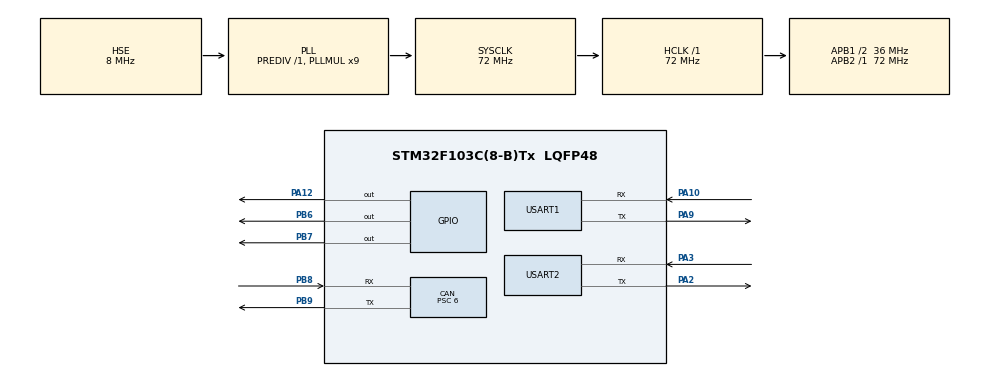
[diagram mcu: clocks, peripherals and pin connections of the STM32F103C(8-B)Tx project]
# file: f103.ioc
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CAN.BS1=CAN_BS1_9TQ
CAN.BS2=CAN_BS2_2TQ
CAN.CalculateBaudRate=499999
CAN.CalculateTimeBit=2000
CAN.CalculateTimeQuantum=166.66666666666669
CAN.Prescaler=6
Dma.Request0=USART1_RX
Dma.USART1_RX.0.Direction=DMA_PERIPH_TO_MEMORY
Dma.USART1_RX.0.Instance=DMA1_Channel5
Dma.USART1_RX.0.MemDataAlignment=DMA_MDATAALIGN_BYTE
Dma.USART1_RX.0.MemInc=DMA_MINC_ENABLE
Dma.USART1_RX.0.Mode=DMA_NORMAL
Dma.USART1_RX.0.PeriphDataAlignment=DMA_PDATAALIGN_BYTE
Dma.USART1_RX.0.PeriphInc=DMA_PINC_DISABLE
Dma.USART1_RX.0.Priority=DMA_PRIORITY_LOW
Mcu.Family=STM32F1
Mcu.Name=STM32F103C(8-B)Tx
Mcu.Package=LQFP48
NVIC.DMA1_Channel5_IRQn=true\:0\:0\:false\:false\:true\:false\:true\:true
NVIC.PriorityGroup=NVIC_PRIORITYGROUP_4
NVIC.USART1_IRQn=true\:0\:0\:false\:false\:true\:true\:true\:true
NVIC.USART2_IRQn=true\:0\:0\:false\:false\:true\:true\:true\:true
NVIC.USB_LP_CAN1_RX0_IRQn=true\:0\:0\:false\:false\:true\:true\:true\:true
PA10.Mode=Asynchronous
PA10.Signal=USART1_RX
PA12.Signal=GPIO_Output
PA13.Mode=Serial_Wire
PA13.Signal=SYS_JTMS-SWDIO
PA14.Mode=Serial_Wire
PA14.Signal=SYS_JTCK-SWCLK
PA2.Mode=Asynchronous
PA2.Signal=USART2_TX
PA3.Mode=Asynchronous
PA3.Signal=USART2_RX
PA9.Mode=Asynchronous
PA9.Signal=USART1_TX
PB6.GPIO_ModeDefaultOutputPP=GPIO_MODE_OUTPUT_OD
PB6.GPIO_PuPd=GPIO_NOPULL
PB6.GPIO_Speed=GPIO_SPEED_FREQ_HIGH
PB6.PinState=GPIO_PIN_SET
PB6.Signal=GPIO_Output
PB7.GPIO_ModeDefaultOutputPP=GPIO_MODE_OUTPUT_OD
PB7.GPIO_PuPd=GPIO_NOPULL
PB7.GPIO_Speed=GPIO_SPEED_FREQ_HIGH
PB7.PinState=GPIO_PIN_SET
PB7.Signal=GPIO_Output
PB8.Mode=CAN_Activate
PB8.Signal=CAN_RX
PB9.Mode=CAN_Activate
PB9.Signal=CAN_TX
PD0-OSC_IN.Mode=HSE-External-Oscillator
PD0-OSC_IN.Signal=RCC_OSC_IN
PD1-OSC_OUT.Mode=HSE-External-Oscillator
PD1-OSC_OUT.Signal=RCC_OSC_OUT
ProjectManager.HeapSize=0x200
ProjectManager.StackSize=0x400
ProjectManager.TargetToolchain=CMake
RCC.AHBFreq_Value=72000000
RCC.APB1CLKDivider=RCC_HCLK_DIV2
RCC.APB1Freq_Value=36000000
RCC.APB1TimFreq_Value=72000000
RCC.APB2Freq_Value=72000000
RCC.APB2TimFreq_Value=72000000
RCC.HCLKFreq_Value=72000000
RCC.PLLMUL=RCC_PLL_MUL9
RCC.PLLSourceVirtual=RCC_PLLSOURCE_HSE
RCC.SYSCLKFreq_VALUE=72000000
RCC.SYSCLKSource=RCC_SYSCLKSOURCE_PLLCLK
RCC.USBFreq_Value=72000000
USART1.VirtualMode=VM_ASYNC
USART2.VirtualMode=VM_ASYNC
board=custom

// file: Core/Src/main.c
/* USER CODE BEGIN Header */
/**
  ******************************************************************************
  * @file           : main.c
  * @brief          : Main program body
  ******************************************************************************
  * @attention
  *
  * Copyright (c) 2026 STMicroelectronics.
  * All rights reserved.
  *
  * This software is licensed under terms that can be found in the LICENSE file
  * in the root directory of this software component.
  * If no LICENSE file comes with this software, it is provided AS-IS.
  *
  ******************************************************************************
  */
/* USER CODE END Header */
#include "main.h"
#include "can.h"
#include "dma.h"
#include "usart.h"
#include "gpio.h"

/* USER CODE BEGIN Includes */
#include "OLED.h"
#include "Emm_V5.h"
#include "gimbal.h"
#include <stdio.h>
#include "imu.h"
#include "perf_monitor.h"
/* USER CODE END Includes */

/* USER CODE BEGIN PM */
Perf_FPS_t vision_fps = {0};
Perf_FPS_t gyro_fps = {0};
/* USER CODE END PM */

/* USER CODE BEGIN PV */
uint8_t rx_buffer[64];        // DMA 接收缓冲区，足够装下整句话
uint32_t last_track_time = 0; // 用于裸机非阻塞定时的系统滴答时间

uint32_t debug_rx_count = 0;  // 记录到底触发了多少次串口中断
char debug_last_char = ' ';   // 记录最后一个收到的字符
char oled_buf[32];            // OLED 字符串格式化缓冲
uint32_t debug_frame_count = 0;
uint32_t count = 0;
uint32_t debug_can_rx_count = 0;  // 记录 CAN 总共收到了多少帧数据
uint32_t debug_can_last_id = 0;   // 记录最新收到的一帧数据的 ID
uint8_t imu_rx_byte;

uint16_t count1 = 0;
uint16_t count2 = 0;
volatile uint16_t count3 = 0;

float pid_cost_time = 0.0f; // 记录 PID 耗时
extern volatile int16_t gyro_angle_raw;
extern volatile uint8_t gyro_rx_done;
/* USER CODE END PV */

void SystemClock_Config(void);

int main(void)
{

  /* MCU Configuration--------------------------------------------------------*/

  /* Reset of all peripherals, Initializes the Flash interface and the Systick. */
  HAL_Init();

  /* Configure the system clock */
  SystemClock_Config();

  /* Initialize all configured peripherals */
  MX_GPIO_Init();
  MX_DMA_Init();
  MX_CAN_Init();
  MX_USART1_UART_Init();
  MX_USART2_UART_Init();
  /* USER CODE BEGIN 2 */
  OLED_Init();
  Perf_Init();

  USER_CAN1_Filter_Init();

  if(HAL_CAN_Start(&hcan) != HAL_OK) { Error_Handler(); }
  if(HAL_CAN_ActivateNotification(&hcan, CAN_IT_RX_FIFO0_MSG_PENDING) != HAL_OK) { Error_Handler(); }
  HAL_Delay(500);
 // Emm_V5_Pos_Control(1, 0, 1000, 0, 256000, 0, 1);
  /* USER CODE END 2 */

  /* Infinite loop */
  /* USER CODE BEGIN WHILE */

  K230_Parser_Init();
  HAL_UARTEx_ReceiveToIdle_DMA(&huart1, rx_buffer, sizeof(rx_buffer));
  HAL_UART_Receive_IT(&huart2, &imu_rx_byte, 1);

  // 初始化云台 PID 参数
  Gimbal_Init();
  Gyro_ConfigReportRateRx();
  // 上电后等待稳定，使能锁死电机
  HAL_Delay(100);
  //Gimbal_Enable(true);
  OLED_ShowString(0, 0, "Inited", OLED_8X16);
  OLED_Update();
  while (1)
  {
    /* USER CODE END WHILE */

    /* USER CODE BEGIN 3 */
    if (gyro_rx_done == 1)
    {
      Perf_Start_Measure(); // ⏱️ DWT 掐表开始
      // 执行内环控速下发
      Gimbal_InnerLoop_Gyro_200Hz();
      pid_cost_time = Perf_End_Measure_us(); // ⏱️ DWT 掐表结束，拿到微秒级耗时
      Perf_FPS_Tick(&gyro_fps); // 📈 陀螺仪频率“打卡”
      gyro_rx_done = 0; // 清除标志，等待下一帧
    }
    Perf_FPS_Calc_1Hz(&vision_fps);
    if (Perf_FPS_Calc_1Hz(&gyro_fps) == true)
    {
      OLED_Clear();
      // 打印 K230 视觉追踪的真实 Hz
      OLED_Printf(0, 0, OLED_8X16, "V_Hz:%d", vision_fps.fps_result);

      // 打印陀螺仪控制内环的真实 Hz (看看有没有跑满 500Hz)
      OLED_Printf(0, 16, OLED_8X16, "G_Hz:%d", gyro_fps.fps_result);

      // 打印一次 PID 闭环算法 + CAN 发送消耗的时间 (us)
      OLED_Printf(0, 32, OLED_8X16, "Cost:%.1fus", pid_cost_time);

      // 打印你的调试变量
      OLED_Printf(0, 48, OLED_6X8, "C1:%d C2:%d C3:%d", count1, count2, count3);

      OLED_Update(); // 每秒仅仅耗时 30ms 刷一次屏
    }
    if (HAL_GetTick() - last_track_time >= 33)  //33Hz
    {
      last_track_time = HAL_GetTick();

      count1++;
      // 只有当状态机完整拼接出一帧校验通过的数据时，才去控制电机
      if (K230_Target.is_updated == true)
      {
        // 第一时间清除标志位，等待下一帧
        K230_Target.is_updated = false;
      }
    }
  }
  /* USER CODE END 3 */
}

void SystemClock_Config(void)
{
  RCC_OscInitTypeDef RCC_OscInitStruct = {0};
  RCC_ClkInitTypeDef RCC_ClkInitStruct = {0};

  /** Initializes the RCC Oscillators according to the specified parameters
  * in the RCC_OscInitTypeDef structure.
  */
  RCC_OscInitStruct.OscillatorType = RCC_OSCILLATORTYPE_HSE;
  RCC_OscInitStruct.HSEState = RCC_HSE_ON;
  RCC_OscInitStruct.HSEPredivValue = RCC_HSE_PREDIV_DIV1;
  RCC_OscInitStruct.HSIState = RCC_HSI_ON;
  RCC_OscInitStruct.PLL.PLLState = RCC_PLL_ON;
  RCC_OscInitStruct.PLL.PLLSource = RCC_PLLSOURCE_HSE;
  RCC_OscInitStruct.PLL.PLLMUL = RCC_PLL_MUL9;
  if (HAL_RCC_OscConfig(&RCC_OscInitStruct) != HAL_OK)
  {
    Error_Handler();
  }

  /** Initializes the CPU, AHB and APB buses clocks
  */
  RCC_ClkInitStruct.ClockType = RCC_CLOCKTYPE_HCLK|RCC_CLOCKTYPE_SYSCLK
                              |RCC_CLOCKTYPE_PCLK1|RCC_CLOCKTYPE_PCLK2;
  RCC_ClkInitStruct.SYSCLKSource = RCC_SYSCLKSOURCE_PLLCLK;
  RCC_ClkInitStruct.AHBCLKDivider = RCC_SYSCLK_DIV1;
  RCC_ClkInitStruct.APB1CLKDivider = RCC_HCLK_DIV2;
  RCC_ClkInitStruct.APB2CLKDivider = RCC_HCLK_DIV1;

  if (HAL_RCC_ClockConfig(&RCC_ClkInitStruct, FLASH_LATENCY_2) != HAL_OK)
  {
    Error_Handler();
  }
}

/* USER CODE BEGIN 4 */
// 在 stm32f1xx_it.c 或者你统一写回调的地方：
// void HAL_UART_RxCpltCallback(UART_HandleTypeDef *huart)
// {
//   if (huart->Instance == USART1) // 假设 K230 接在串口1
//   {
//     // rx_buffer[0] 是你每次 HAL_UART_Receive_IT 接收存放的那个字节
//     debug_rx_count++;
//     debug_last_char = (char)rx_buffer[0];
//
//     K230_Parse_Byte(rx_buffer[0]);
//
//     // 重新开启下一次单字节接收
//     HAL_UART_Receive_IT(&huart1, rx_buffer, 1);
//   }
// }
void HAL_UARTEx_RxEventCallback(UART_HandleTypeDef *huart, uint16_t Size)
{
  if (huart->Instance == USART1)
  {
    //debug_rx_count++; // 只要进中断，屏幕上的 RX 必定 +1
    count2++;
    // 1. 强制补上结束符
    rx_buffer[Size] = '\0';

    // 2. 解析坐标数据
    int16_t temp_x = 0, temp_y = 0;

    if (Fast_Parse_Vision(rx_buffer, &temp_x, &temp_y) == 1)
    {
      K230_Target.err_x = (int16_t)temp_x;
      K230_Target.err_y = (int16_t)temp_y;
      K230_Target.is_updated = true;

      Gimbal_OuterLoop_Vision_80Hz(K230_Target.err_x, K230_Target.err_y); //中断内处理yaw轴外环
      Perf_FPS_Tick(&vision_fps);//视觉帧率监控
      //debug_frame_count++; // 解析成功，屏幕上的 CH +1
    }

    // 3. 重启 DMA 接收
    //    HAL 底层在调用本回调之前，已经完成了：
    //      - HAL_DMA_Abort → DMA 硬件已停止，状态已复位
    //      - RxState = READY，ReceptionType = STANDARD
    //    所以这里只需要重新调用即可，千万不要手动操作 DMA 寄存器！
    HAL_UARTEx_ReceiveToIdle_DMA(&huart1, rx_buffer, sizeof(rx_buffer));
    __HAL_DMA_DISABLE_IT(huart->hdmarx, DMA_IT_HT);        // 关闭过半中断防干扰
  }

}

void HAL_UART_RxCpltCallback(UART_HandleTypeDef *huart)
{
  if (huart->Instance == USART2) // 陀螺仪使用串口2
  {
    // 将收到的字节喂给你写好的状态机
    Gyro_ParseFrame(imu_rx_byte);
    count3++;

    // 重新开启中断接收下一个字节
    HAL_UART_Receive_IT(&huart2, &imu_rx_byte, 1);
  }
}
void HAL_UART_ErrorCallback(UART_HandleTypeDef *huart)
{
  if (huart->Instance == USART1)
  {
    // 遇到静电或拔插串口线的噪声，清除错误后重启
    __HAL_UART_CLEAR_OREFLAG(huart);
    __HAL_UART_CLEAR_NEFLAG(huart);
    __HAL_UART_CLEAR_FEFLAG(huart);

    HAL_UARTEx_ReceiveToIdle_DMA(&huart1, rx_buffer, sizeof(rx_buffer));
    __HAL_DMA_DISABLE_IT(huart->hdmarx, DMA_IT_HT);
  }else if (huart->Instance == USART2)
  {
    // ================= 陀螺仪串口错误恢复 =================
    // 发生 ORE 溢出错误时，清除标志位，防止死锁
    __HAL_UART_CLEAR_OREFLAG(huart);
    __HAL_UART_CLEAR_NEFLAG(huart);
    __HAL_UART_CLEAR_FEFLAG(huart);

    // 重新开启陀螺仪的单字节中断接收
    HAL_UART_Receive_IT(&huart2, &imu_rx_byte, 1);
  }
}

void HAL_CAN_RxFifo0MsgPendingCallback(CAN_HandleTypeDef *hcan)
{
  CAN_RxHeaderTypeDef RxHeader;
  uint8_t RxData[8];

  // 读取接收到的数据（这一步非常关键！它会自动清除 FIFO 里的待处理标志，防止死机）
  if (HAL_CAN_GetRxMessage(hcan, CAN_RX_FIFO0, &RxHeader, RxData) == HAL_OK)
  {
    debug_can_rx_count++;               // CAN 接收计数器 +1
    debug_can_last_id = RxHeader.StdId; // 抓取是谁发来的 ID

    // 如果你在使用张大头的驱动库，通常需要在这里把数据“喂”给它的解析函数
    // 取决于你用的版本，可能叫这个名字：
    // Emm_V5_Receive_Data(&RxHeader, RxData);
  }
}

/* USER CODE END 4 */

void Error_Handler(void)
{
  __disable_irq();
  while (1)
  {
  }
}
